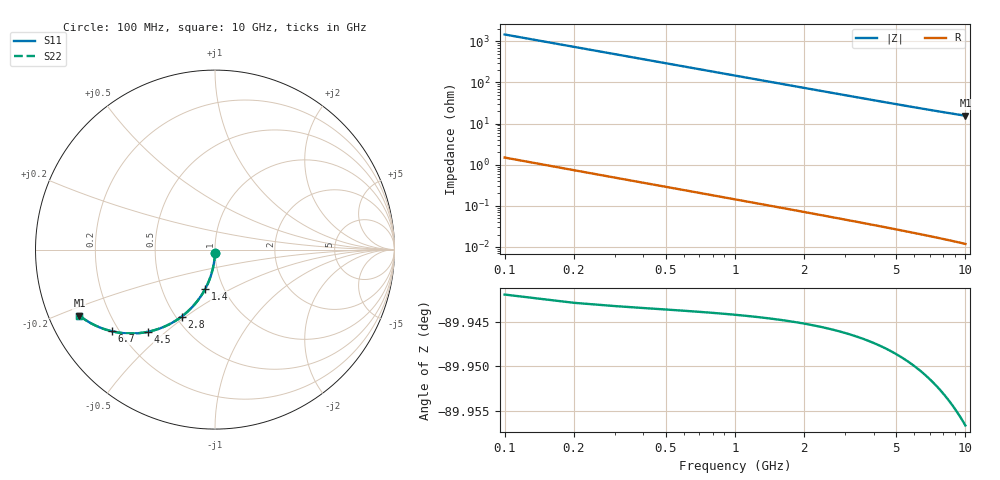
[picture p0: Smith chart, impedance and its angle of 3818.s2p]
# Hz S RI R 50.00
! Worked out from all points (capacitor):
!   100 points, 100 MHz to 10 GHz, reference 50 ohm
!   read as one part in shunt: C = 1.08 pF near 100 MHz
!   lowest |Z| = 15.6 ohm at 10 GHz (marker M1)
!   S11 on the Smith chart (normalised r, x): 100 MHz: 1.00, -0.03; 1.4 GHz: 0.82, -0.38; 2.8 GHz: 0.54, -0.48; 4.5 GHz: 0.31, -0.44; 6.7 GHz: 0.17, -0.34; 10 GHz: 0.09, -0.23
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1e8  -0.000187 -0.0164  0.9996 -0.0175  0.9996 -0.0175  -0.000187 -0.0164
2e8  -0.00106 -0.0328  0.9987 -0.035  0.9987 -0.035  -0.00106 -0.0328
3e8  -0.00251 -0.0491  0.9972 -0.0524  0.9972 -0.0524  -0.00251 -0.0491
4e8  -0.00453 -0.0653  0.9952 -0.0698  0.9952 -0.0698  -0.00453 -0.0653
5e8  -0.0071 -0.0814  0.9926 -0.087  0.9926 -0.087  -0.0071 -0.0814
6e8  -0.0102 -0.0974  0.9895 -0.1041  0.9895 -0.1041  -0.0102 -0.0974
7e8  -0.0139 -0.1132  0.9858 -0.121  0.9858 -0.121  -0.0139 -0.1132
9e8  -0.0228 -0.1442  0.9769 -0.1543  0.9769 -0.1543  -0.0228 -0.1442
1.1e9  -0.0337 -0.1743  0.966 -0.1866  0.966 -0.1866  -0.0337 -0.1743
1.4e9  -0.0536 -0.2172  0.9461 -0.2328  0.9461 -0.2328  -0.0536 -0.2172
1.8e9  -0.0857 -0.2696  0.9139 -0.2898  0.9139 -0.2898  -0.0857 -0.2696
2.3e9  -0.1329 -0.3264  0.8665 -0.3522  0.8665 -0.3522  -0.1329 -0.3264
2.8e9  -0.1856 -0.3728  0.8137 -0.4043  0.8137 -0.4043  -0.1856 -0.3728
3.4e9  -0.2521 -0.4148  0.7469 -0.4532  0.7469 -0.4532  -0.2521 -0.4148
3.9e9  -0.308 -0.4393  0.6908 -0.4835  0.6908 -0.4835  -0.308 -0.4393
4.5e9  -0.3731 -0.4578  0.6254 -0.5088  0.6254 -0.5088  -0.3731 -0.4578
5.1e9  -0.4343 -0.4662  0.5637 -0.5243  0.5637 -0.5243  -0.4343 -0.4662
5.8e9  -0.4997 -0.4663  0.4978 -0.5327  0.4978 -0.5327  -0.4997 -0.4663
6.7e9  -0.5732 -0.4552  0.4235 -0.5324  0.4235 -0.5324  -0.5732 -0.4552
7.5e9  -0.629 -0.4385  0.367 -0.5255  0.367 -0.5255  -0.629 -0.4385
8.4e9  -0.6819 -0.4151  0.313 -0.5132  0.313 -0.5132  -0.6819 -0.4151
1e10  -0.7551 -0.368  0.2376 -0.4866  0.2376 -0.4866  -0.7551 -0.368
